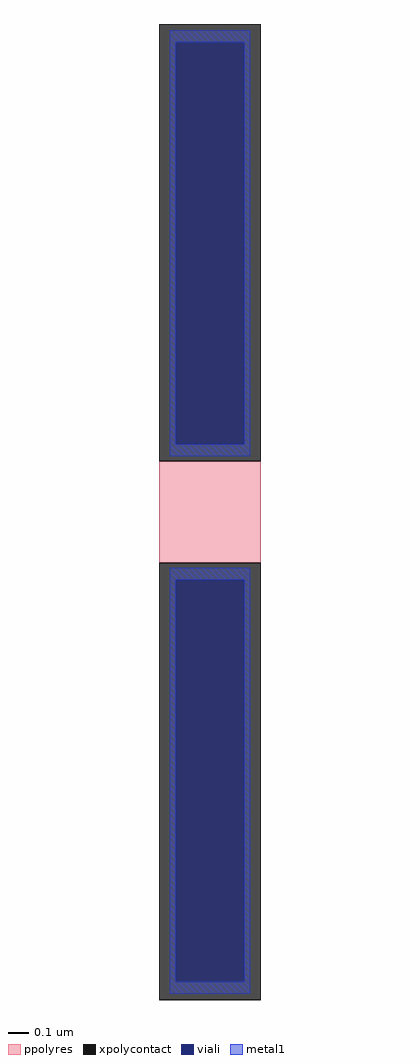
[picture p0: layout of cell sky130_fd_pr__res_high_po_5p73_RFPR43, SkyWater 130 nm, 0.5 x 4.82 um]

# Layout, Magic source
magic
tech sky130B
magscale 1 2
<< xpolycontact >>
rect -50 50 50 482
rect -50 -482 50 -50
<< ppolyres >>
rect -50 -50 50 50
<< viali >>
rect -34 67 34 464
rect -34 -464 34 -67
<< metal1 >>
rect -40 464 40 476
rect -40 67 -34 464
rect 34 67 40 464
rect -40 55 40 67
rect -40 -67 40 -55
rect -40 -464 -34 -67
rect 34 -464 40 -67
rect -40 -476 40 -464
<< properties >>
string gencell sky130_fd_pr__res_high_po_5p73
string library sky130
string parameters w 0.5 l 0.5 m 1 nx 1 wmin 5.730 lmin 0.50 rho 319.8 val 95.905 dummy 0 dw 0.0 term 194.82 sterm 0.0 caplen 0 guard 0 glc 0 grc 0 gtc 0 gbc 0 compatible {sky130_fd_pr__res_high_po_0p35  sky130_fd_pr__res_high_po_0p69 sky130_fd_pr__res_high_po_1p41  sky130_fd_pr__res_high_po_2p85 sky130_fd_pr__res_high_po_5p73} snake 1 full_metal 0 wmax 5.730 n_guard 0 hv_guard 0 vias 1 viagb 0 viagt 0 viagl 0 viagr 0
<< end >>
